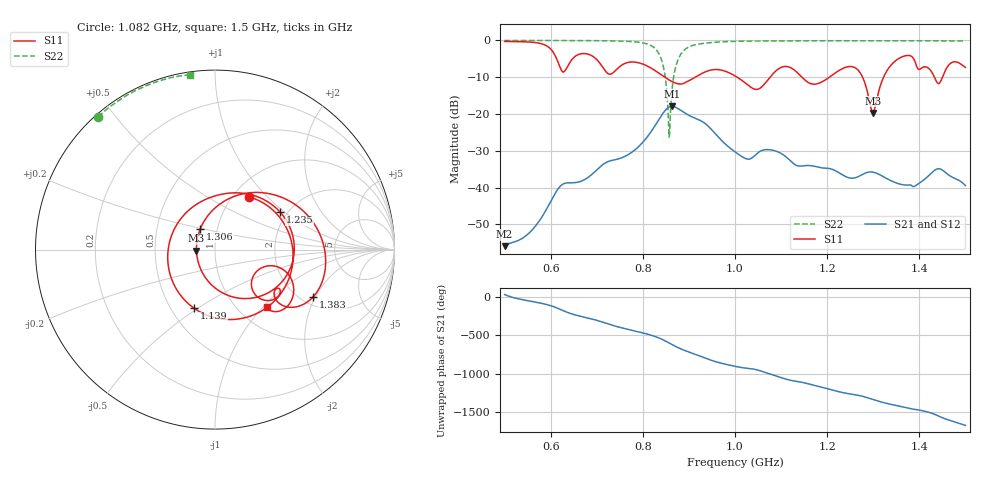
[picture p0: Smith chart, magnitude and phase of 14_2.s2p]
! TOUCHSTONE file generated by CST MICROWAVE STUDIO
! Date and time: Thu Feb 11 19:32:38 2021
! Project name: Scenario_1_Planar_Body_Tissue_Out_of_Line.cst
! Parameters = {L_HA=400; Ltissue=1000; MT=2.54; Rad_Dielectric=30; Rad_Lower=7.3; Rad_Upper=30; Wtissue=1000; a_HA=580; a_WG=246; b_HA=500; b_WG=121; c_HA=0; c_WG=187; d_feed=85; dx1=346; dy1=-121.1; h_feed=15; h_lower=18; h_upper=40; hfat=3; hgap=25; hmuscle=50; hskin=1.5}
! Header version: 2018
! Port assignment regex: !\s*Touchstone port\s*([0-9]+)\s*=\s*(CST MWS port|CST DS port)\s*([0-9]+|Zmin|Zmax)\s*\(\"(.*)\"\)(\s*mode\s*([0-9]+))?.*
! Touchstone port assignment:
! Touchstone port 1 = CST MWS port 1 ("")
! Touchstone port 2 = CST MWS port 2 ("")
# GHz S DB R 50
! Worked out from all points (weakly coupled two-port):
!   1003 points, 500 MHz to 1.5 GHz, reference 50 ohm
!   highest |S21| = -17.94 dB at 863 MHz (marker M1); lowest = -56.0 dB at 500 MHz (marker M2)
!   lowest |S11| = -19.7 dB at 1.299 GHz (marker M3), VSWR 1.23, Z = 40.6 - j0.531 ohm
!   |S11| at or under -10 dB: 847.5 MHz to 913.8 MHz (66.25 MHz wide, 7.52 % of centre); 1.005 GHz to 1.076 GHz (71.42 MHz wide, 6.87 % of centre); 1.145 GHz to 1.205 GHz (59.57 MHz wide, 5.07 % of centre) (the widest 3 of 5)
!   |S22| runs from -26.3 to 0.0 dB; largest |S21 - S12| = 2.4e-06
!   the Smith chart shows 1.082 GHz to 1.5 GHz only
!   S11 on the Smith chart (normalised r, x): 1.082 GHz: 1.18, +0.79; 1.139 GHz: 0.65, -0.48; 1.235 GHz: 1.84, +0.93; 1.306 GHz: 0.83, +0.19; 1.383 GHz: 2.30, -1.92; 1.5 GHz: 1.34, -1.05
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0.5  -0.27 -121.5  -55.95 28.9  -55.95 28.9  -0.01 151.1
0.667  -3.61 156.2  -38.24 103.6  -38.24 103.6  -0.04 138.4
0.695  -4.64 100.8  -35.81 62.7  -35.81 62.7  -0.06 135.4
0.717  -8.02 22.9  -33.42 22.3  -33.42 22.3  -0.09 132.7
0.741  -8.14 -98.6  -32.41 -22.6  -32.41 -22.6  -0.14 129.1
0.769  -5.96 175.5  -31.00 -64.0  -31.00 -64.0  -0.27 123.3
0.834  -8.83 28.6  -21.68 -172.2  -21.68 -172.2  -3.43 83.0
0.863  -11.16 -50.2  -17.94 100.5  -17.94 100.5  -13.91 -136.7
0.907  -10.48 177.9  -20.82 -11.9  -20.82 -11.9  -1.41 163.5
0.94  -8.33 82.7  -23.10 -85.9  -23.10 -85.9  -0.69 151.3
1  -9.64 -63.9  -30.30 177.7  -30.30 177.7  -0.25 140.3
1.041  -13.19 -177.7  -31.53 141.2  -31.53 141.2  -0.17 135.2
1.082  -9.13 57.1  -29.86 66.0  -29.86 66.0  -0.14 131.3
1.107  -7.10 -15.8  -31.30 18.4  -31.30 18.4  -0.11 129.1
1.139  -9.21 -109.9  -34.16 -23.2  -34.16 -23.2  -0.10 126.4
1.167  -11.85 166.9  -34.10 -61.7  -34.10 -61.7  -0.10 124.2
1.235  -7.56 29.9  -36.70 -164.8  -36.70 -164.8  -0.08 119.0
1.299  -19.71 -176.4  -35.82 107.7  -35.82 107.7  -0.09 114.2
1.306  -17.00 125.5  -36.06 94.5  -36.06 94.5  -0.09 113.6
1.334  -7.44 47.8  -37.87 49.9  -37.87 49.9  -0.08 111.5
1.383  -4.34 -25.7  -39.44 -14.0  -39.44 -14.0  -0.09 107.7
1.5  -7.32 -47.7  -39.47 130.4  -39.47 130.4  -0.13 98.0
